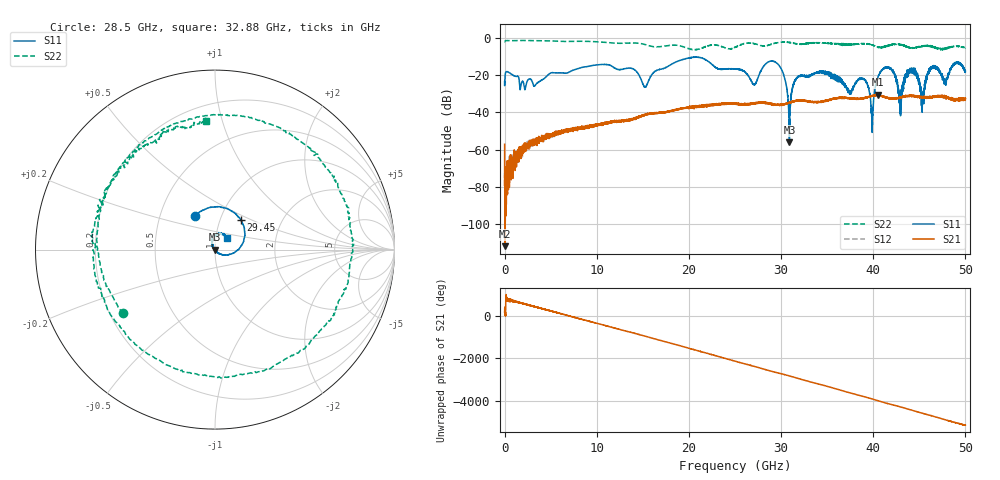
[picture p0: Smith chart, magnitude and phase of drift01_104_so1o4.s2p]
!Created with skrf (http://scikit-rf.org).
# Hz S RI R 50.0
!freq ReS11 ImS11 ReS21 ImS21 ReS12 ImS12 ReS22 ImS22
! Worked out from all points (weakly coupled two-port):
!   10001 points, 300 kHz to 50 GHz, reference 50 ohm
!   highest |S21| = -30.51 dB at 40.52 GHz (marker M1); lowest = -112.0 dB at 60.3 MHz (marker M2)
!   lowest |S11| = -56.2 dB at 30.91 GHz (marker M3), VSWR 1.00, Z = 49.8 - j0.0362 ohm
!   |S11| at or under -10 dB: start of sweep to end of sweep
!   |S22| runs from -6.4 to -1.4 dB; largest |S21 - S12| = 0.005
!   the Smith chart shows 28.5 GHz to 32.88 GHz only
!   S11 on the Smith chart (normalised r, x): 28.5 GHz: 0.75, +0.29; 29.45 GHz: 1.25, +0.44; 32.88 GHz: 1.14, +0.15
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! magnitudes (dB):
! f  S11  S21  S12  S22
! 300 kHz  -23.5  -57.2  -72.2  -2.1
! 60.3 MHz  -20.0  -112.0  -84.1  -1.6
! 2.415 GHz  -23.7  -58.2  -55.9  -1.4
! 8.335 GHz  -15.9  -48.9  -48.3  -1.8
! 15.23 GHz  -26.5  -41.4  -41.3  -3.6
! 16.67 GHz  -17.1  -40.2  -40.2  -4.8
! 25 GHz  -16.7  -35.2  -35.1  -5.1
! 27.1 GHz  -25.3  -34.9  -35.2  -3.1
! 28.5 GHz  -13.3  -34.9  -35.0  -4.1
! 29.45 GHz  -13.2  -36.0  -36.2  -2.7
! 30.91 GHz  -56.2  -35.0  -34.9  -2.5
! 32.88 GHz  -20.4  -34.0  -34.1  -2.9
! 33.34 GHz  -19.8  -34.4  -34.3  -2.7
! 38.92 GHz  -22.4  -32.6  -32.5  -3.0
! 39.86 GHz  -45.1  -31.0  -31.0  -3.7
! 40.52 GHz  -21.1  -30.5  -30.9  -5.1
! 41.67 GHz  -16.0  -32.1  -32.3  -4.2
! 42.93 GHz  -34.6  -32.2  -32.1  -3.7
! 44.03 GHz  -18.0  -31.1  -31.3  -5.5
! 45.31 GHz  -40.0  -31.9  -31.9  -4.5
! 46.43 GHz  -15.4  -31.6  -31.8  -4.5
! 50 GHz  -17.9  -32.5  -32.3  -5.3
